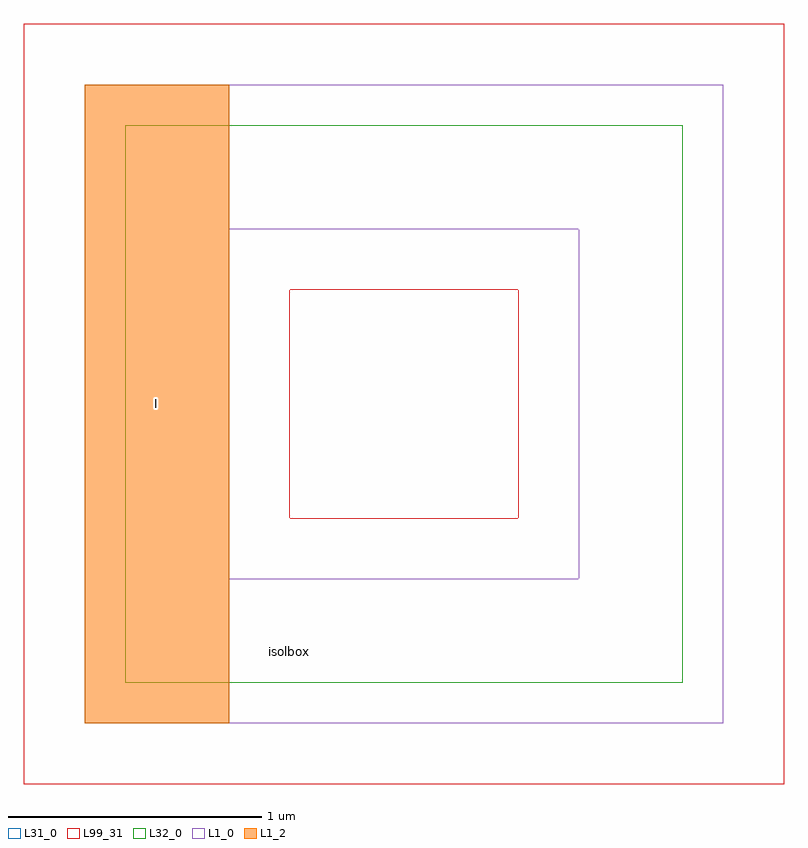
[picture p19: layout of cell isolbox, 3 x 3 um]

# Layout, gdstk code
import gdstk
lib = gdstk.Library(unit=1e-6, precision=1e-09)
def R(c, l, rs):  # rectangles x0, y0, x1, y1
    for r in rs: c.add(gdstk.rectangle(r[:2], r[2:], *l))
def P(c, l, *ps):  # polygons
    for p in ps: c.add(gdstk.Polygon(p, *l))
L1_0 = (1, 0)
L1_2 = (1, 2)
L31_0 = (31, 0)
L32_0 = (32, 0)
L99_31 = (99, 31)

isolbox = lib.new_cell('isolbox')
P(isolbox, L1_0, [(-0.81,-0.81),(-0.81,-0.24),(1.14,-0.24),(1.14,1.14),(-0.24,1.14),(-0.24,-0.24),(-0.81,-0.24),(-0.81,1.71),(1.71,1.71),(1.71,-0.81)],
  [(-0.81,-0.81),(-0.81,-0.24),(1.14,-0.24),(1.14,1.14),(-0.24,1.14),(-0.24,-0.24),(-0.81,-0.24),(-0.81,1.71),(1.71,1.71),(1.71,-0.81)])
R(isolbox, L1_2, [(-0.81,-0.81,-0.24,1.71), (-0.81,-0.81,-0.24,1.71)])
P(isolbox, L31_0, [(-1.05,-1.05),(-1.05,0),(0.9,0),(0.9,0.9),(0,0.9),(0,0),(-1.05,0),(-1.05,1.95),(1.95,1.95),(1.95,-1.05)],
  [(-1.05,-1.05),(-1.05,0),(0.9,0),(0.9,0.9),(0,0.9),(0,0),(-1.05,0),(-1.05,1.95),(1.95,1.95),(1.95,-1.05)])
R(isolbox, L32_0, [(-0.65,-0.65,1.55,1.55), (-0.65,-0.65,1.55,1.55)])
P(isolbox, L99_31, [(-1.05,-1.05),(-1.05,0),(0.9,0),(0.9,0.9),(0,0.9),(0,0),(-1.05,0),(-1.05,1.95),(1.95,1.95),(1.95,-1.05)],
  [(-1.05,-1.05),(-1.05,0),(0.9,0),(0.9,0.9),(0,0.9),(0,0),(-1.05,0),(-1.05,1.95),(1.95,1.95),(1.95,-1.05)])
isolbox.add(gdstk.Label('isolbox', (0,-0.525), layer=63, texttype=0))
isolbox.add(gdstk.Label('I', (-0.525,0.45), layer=63, texttype=0))
isolbox.add(gdstk.Label('isolbox', (0,-0.525), layer=63, texttype=0))
isolbox.add(gdstk.Label('I', (-0.525,0.45), layer=63, texttype=0))

lib.write_gds('isolbox.gds')
